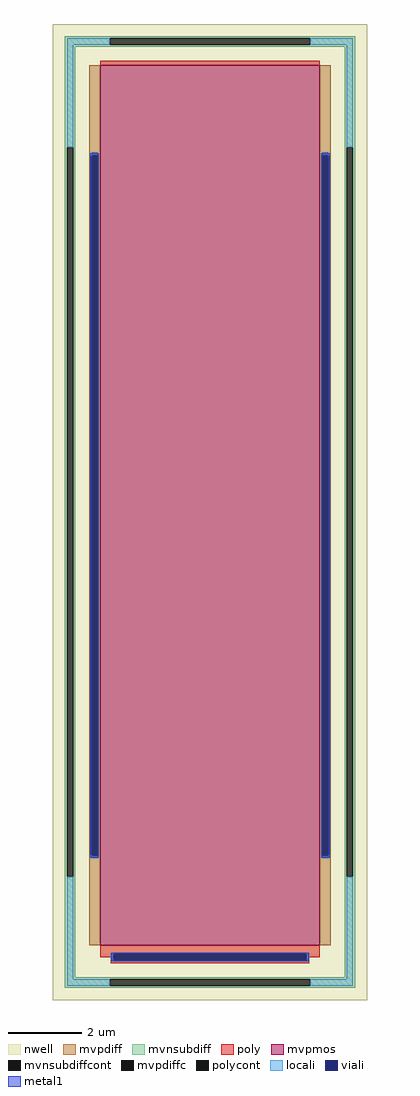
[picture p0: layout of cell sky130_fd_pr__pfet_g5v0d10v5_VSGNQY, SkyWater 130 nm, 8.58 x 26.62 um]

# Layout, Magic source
magic
tech sky130B
magscale 1 2
<< nwell >>
rect -858 -2662 858 2662
<< mvpmos >>
rect -600 -2364 600 2436
<< mvpdiff >>
rect -658 1946 -600 2436
rect -658 -1874 -646 1946
rect -612 -1874 -600 1946
rect -658 -2364 -600 -1874
rect 600 1946 658 2436
rect 600 -1874 612 1946
rect 646 -1874 658 1946
rect 600 -2364 658 -1874
<< mvpdiffc >>
rect -646 -1874 -612 1946
rect 612 -1874 646 1946
<< mvnsubdiff >>
rect -792 2584 792 2596
rect -792 2550 -547 2584
rect 547 2550 792 2584
rect -792 2538 792 2550
rect -792 1990 -734 2538
rect -792 -1990 -780 1990
rect -746 -1990 -734 1990
rect -792 -2538 -734 -1990
rect 734 1990 792 2538
rect 734 -1990 746 1990
rect 780 -1990 792 1990
rect 734 -2538 792 -1990
rect -792 -2550 792 -2538
rect -792 -2584 -547 -2550
rect 547 -2584 792 -2550
rect -792 -2596 792 -2584
<< mvnsubdiffcont >>
rect -547 2550 547 2584
rect -780 -1990 -746 1990
rect 746 -1990 780 1990
rect -547 -2584 547 -2550
<< poly >>
rect -600 2436 600 2462
rect -600 -2411 600 -2364
rect -600 -2428 -526 -2411
rect -542 -2445 -526 -2428
rect 526 -2428 600 -2411
rect 526 -2445 542 -2428
rect -542 -2461 542 -2445
<< polycont >>
rect -526 -2445 526 -2411
<< locali >>
rect -780 2550 -547 2584
rect 547 2550 780 2584
rect -780 1990 -746 2550
rect 746 1990 780 2550
rect -646 1946 -612 1962
rect -646 -1890 -612 -1874
rect 612 1946 646 1962
rect 612 -1890 646 -1874
rect -780 -2550 -746 -1990
rect -542 -2445 -526 -2411
rect 526 -2445 542 -2411
rect 746 -2550 780 -1990
rect -780 -2584 -547 -2550
rect 547 -2584 780 -2550
<< viali >>
rect -646 -1874 -612 1946
rect 612 -1874 646 1946
rect -526 -2445 526 -2411
<< metal1 >>
rect -652 1946 -606 1958
rect -652 -1874 -646 1946
rect -612 -1874 -606 1946
rect -652 -1886 -606 -1874
rect 606 1946 652 1958
rect 606 -1874 612 1946
rect 646 -1874 652 1946
rect 606 -1886 652 -1874
rect -538 -2411 538 -2405
rect -538 -2445 -526 -2411
rect 526 -2445 538 -2411
rect -538 -2451 538 -2445
<< properties >>
string FIXED_BBOX -763 -2567 763 2567
string gencell sky130_fd_pr__pfet_g5v0d10v5
string library sky130
string parameters w 24.0 l 6.0 m 1 nf 1 diffcov 80 polycov 90 guard 1 glc 1 grc 1 gtc 1 gbc 1 tbcov 80 rlcov 80 topc 0 botc 1 poverlap 0 doverlap 1 lmin 0.50 wmin 0.42 compatible {sky130_fd_pr__pfet_01v8  sky130_fd_pr__pfet_01v8_lvt sky130_fd_pr__pfet_01v8_hvt  sky130_fd_pr__pfet_g5v0d10v5} full_metal 1 viasrc 80 viadrn 80 viagate 90 viagb 0 viagr 0 viagl 0 viagt 0
<< end >>
